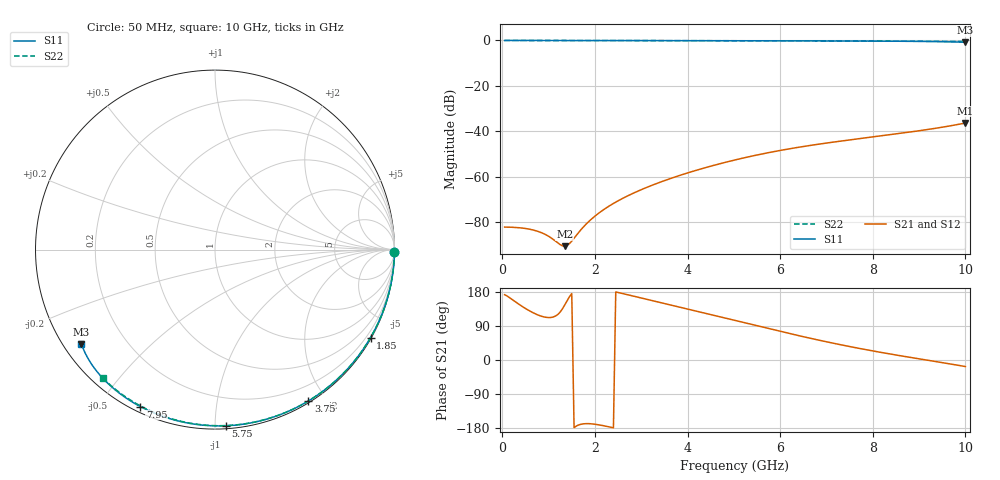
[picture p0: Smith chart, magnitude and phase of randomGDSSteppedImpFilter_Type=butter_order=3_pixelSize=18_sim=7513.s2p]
! freq	dB(S11)	phase(S11)	dB(S12)	phase(S12)
!  dB(S21)	phase(S21)	dB(S22)	phase(S22)
!S-par simulation data
#  GHz  S  DB  R 50
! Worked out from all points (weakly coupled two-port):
!   200 points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, 50 MHz to 10 GHz, reference 50 ohm
!   highest |S21| = -36.38 dB at 10 GHz (marker M1); lowest = -90.6 dB at 1.35 GHz (marker M2)
!   lowest |S11| = -0.8 dB at 10 GHz (marker M3), VSWR 21.50, Z = 2.56 - j15.8 ohm
!   |S11| at or under -10 dB: nowhere
!   |S22| runs from -0.4 to 0.0 dB; largest |S21 - S12| = 0
!   S11 on the Smith chart (normalised r, x): 50 MHz: open; 1.85 GHz: 0.03, -3.80; 3.75 GHz: 0.02, -1.79; 5.75 GHz: 0.02, -1.06; 7.95 GHz: 0.02, -0.63; 10 GHz: 0.05, -0.32
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0.05  -0.00 -0.8  -82.20 172.3  -82.20 172.3  -0.00 -0.8
0.7  -0.01 -11.3  -83.66 122.6  -83.66 122.6  -0.01 -10.6
1.35  -0.03 -21.7  -90.61 145.7  -90.61 145.7  -0.03 -20.2
1.75  -0.04 -28.0  -82.17 -168.5  -82.17 -168.5  -0.03 -26.1
1.85  -0.04 -29.5  -80.09 -167.9  -80.09 -167.9  -0.04 -27.6
2  -0.04 -31.9  -77.38 -169.5  -77.38 -169.5  -0.04 -29.8
2.15  -0.04 -34.2  -75.06 -172.6  -75.06 -172.6  -0.04 -32.0
2.45  -0.05 -38.8  -71.20 179.6  -71.20 179.6  -0.05 -36.3
2.85  -0.06 -44.9  -67.07 168.0  -67.07 168.0  -0.05 -42.0
3.4  -0.07 -53.2  -62.49 151.9  -62.49 151.9  -0.07 -49.8
3.75  -0.08 -58.3  -60.00 141.7  -60.00 141.7  -0.07 -54.6
4.4  -0.10 -67.7  -55.94 122.8  -55.94 122.8  -0.09 -63.4
5.05  -0.12 -76.9  -52.51 103.6  -52.51 103.6  -0.11 -72.0
5.75  -0.15 -86.5  -49.41 83.0  -49.41 83.0  -0.14 -81.0
6.2  -0.17 -92.5  -47.72 69.9  -47.72 69.9  -0.16 -86.7
6.7  -0.19 -99.1  -46.08 56.0  -46.08 56.0  -0.18 -92.8
7.3  -0.23 -107.0  -44.35 40.4  -44.35 40.4  -0.21 -100.1
7.95  -0.28 -115.5  -42.63 25.1  -42.63 25.1  -0.26 -107.7
8.35  -0.32 -120.7  -41.58 16.4  -41.58 16.4  -0.29 -112.4
9.2  -0.46 -132.5  -39.18 -0.9  -39.18 -0.9  -0.36 -122.1
9.6  -0.59 -138.4  -37.87 -8.9  -37.87 -8.9  -0.40 -126.6
10  -0.81 -144.8  -36.38 -17.3  -36.38 -17.3  -0.44 -131.1
